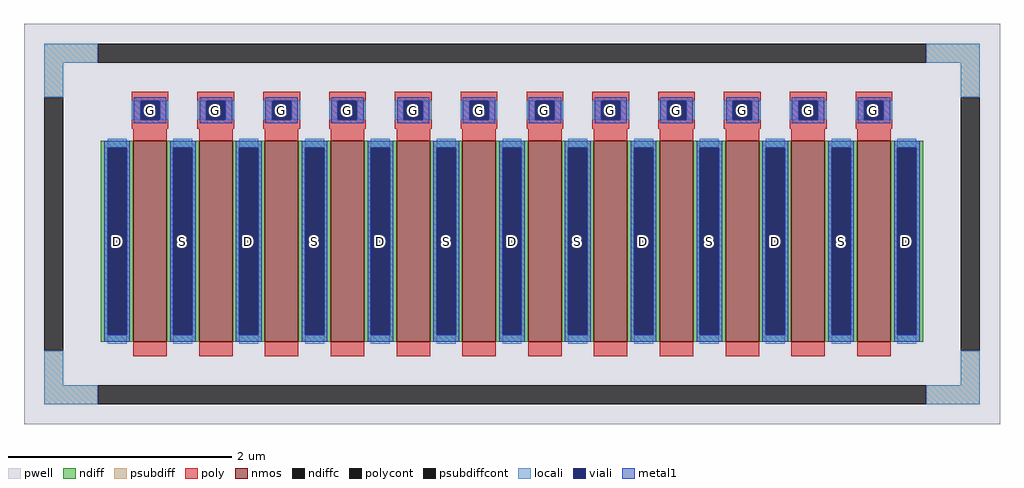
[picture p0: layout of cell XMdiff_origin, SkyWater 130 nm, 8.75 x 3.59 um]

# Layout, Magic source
magic
tech sky130A
magscale 1 2
<< pwell >>
rect -875 -359 875 359
<< nmos >>
rect -679 -211 -619 149
rect -561 -211 -501 149
rect -443 -211 -383 149
rect -325 -211 -265 149
rect -207 -211 -147 149
rect -89 -211 -29 149
rect 29 -211 89 149
rect 147 -211 207 149
rect 265 -211 325 149
rect 383 -211 443 149
rect 501 -211 561 149
rect 619 -211 679 149
<< ndiff >>
rect -737 137 -679 149
rect -737 -199 -725 137
rect -691 -199 -679 137
rect -737 -211 -679 -199
rect -619 137 -561 149
rect -619 -199 -607 137
rect -573 -199 -561 137
rect -619 -211 -561 -199
rect -501 137 -443 149
rect -501 -199 -489 137
rect -455 -199 -443 137
rect -501 -211 -443 -199
rect -383 137 -325 149
rect -383 -199 -371 137
rect -337 -199 -325 137
rect -383 -211 -325 -199
rect -265 137 -207 149
rect -265 -199 -253 137
rect -219 -199 -207 137
rect -265 -211 -207 -199
rect -147 137 -89 149
rect -147 -199 -135 137
rect -101 -199 -89 137
rect -147 -211 -89 -199
rect -29 137 29 149
rect -29 -199 -17 137
rect 17 -199 29 137
rect -29 -211 29 -199
rect 89 137 147 149
rect 89 -199 101 137
rect 135 -199 147 137
rect 89 -211 147 -199
rect 207 137 265 149
rect 207 -199 219 137
rect 253 -199 265 137
rect 207 -211 265 -199
rect 325 137 383 149
rect 325 -199 337 137
rect 371 -199 383 137
rect 325 -211 383 -199
rect 443 137 501 149
rect 443 -199 455 137
rect 489 -199 501 137
rect 443 -211 501 -199
rect 561 137 619 149
rect 561 -199 573 137
rect 607 -199 619 137
rect 561 -211 619 -199
rect 679 137 737 149
rect 679 -199 691 137
rect 725 -199 737 137
rect 679 -211 737 -199
<< ndiffc >>
rect -725 -199 -691 137
rect -607 -199 -573 137
rect -489 -199 -455 137
rect -371 -199 -337 137
rect -253 -199 -219 137
rect -135 -199 -101 137
rect -17 -199 17 137
rect 101 -199 135 137
rect 219 -199 253 137
rect 337 -199 371 137
rect 455 -199 489 137
rect 573 -199 607 137
rect 691 -199 725 137
<< psubdiff >>
rect -839 289 -743 323
rect 743 289 839 323
rect -839 227 -805 289
rect 805 227 839 289
rect -839 -289 -805 -227
rect 805 -289 839 -227
rect -839 -323 -743 -289
rect 743 -323 839 -289
<< psubdiffcont >>
rect -743 289 743 323
rect -839 -227 -805 227
rect 805 -227 839 227
rect -743 -323 743 -289
<< poly >>
rect -682 221 -616 237
rect -682 187 -666 221
rect -632 187 -616 221
rect -682 171 -616 187
rect -564 221 -498 237
rect -564 187 -548 221
rect -514 187 -498 221
rect -564 171 -498 187
rect -446 221 -380 237
rect -446 187 -430 221
rect -396 187 -380 221
rect -446 171 -380 187
rect -328 221 -262 237
rect -328 187 -312 221
rect -278 187 -262 221
rect -328 171 -262 187
rect -210 221 -144 237
rect -210 187 -194 221
rect -160 187 -144 221
rect -210 171 -144 187
rect -92 221 -26 237
rect -92 187 -76 221
rect -42 187 -26 221
rect -92 171 -26 187
rect 26 221 92 237
rect 26 187 42 221
rect 76 187 92 221
rect 26 171 92 187
rect 144 221 210 237
rect 144 187 160 221
rect 194 187 210 221
rect 144 171 210 187
rect 262 221 328 237
rect 262 187 278 221
rect 312 187 328 221
rect 262 171 328 187
rect 380 221 446 237
rect 380 187 396 221
rect 430 187 446 221
rect 380 171 446 187
rect 498 221 564 237
rect 498 187 514 221
rect 548 187 564 221
rect 498 171 564 187
rect 616 221 682 237
rect 616 187 632 221
rect 666 187 682 221
rect 616 171 682 187
rect -679 149 -619 171
rect -561 149 -501 171
rect -443 149 -383 171
rect -325 149 -265 171
rect -207 149 -147 171
rect -89 149 -29 171
rect 29 149 89 171
rect 147 149 207 171
rect 265 149 325 171
rect 383 149 443 171
rect 501 149 561 171
rect 619 149 679 171
rect -679 -237 -619 -211
rect -561 -237 -501 -211
rect -443 -237 -383 -211
rect -325 -237 -265 -211
rect -207 -237 -147 -211
rect -89 -237 -29 -211
rect 29 -237 89 -211
rect 147 -237 207 -211
rect 265 -237 325 -211
rect 383 -237 443 -211
rect 501 -237 561 -211
rect 619 -237 679 -211
<< polycont >>
rect -666 187 -632 221
rect -548 187 -514 221
rect -430 187 -396 221
rect -312 187 -278 221
rect -194 187 -160 221
rect -76 187 -42 221
rect 42 187 76 221
rect 160 187 194 221
rect 278 187 312 221
rect 396 187 430 221
rect 514 187 548 221
rect 632 187 666 221
<< locali >>
rect -839 289 -743 323
rect 743 289 839 323
rect -839 227 -805 289
rect 805 227 839 289
rect -682 187 -666 221
rect -632 187 -616 221
rect -564 187 -548 221
rect -514 187 -498 221
rect -446 187 -430 221
rect -396 187 -380 221
rect -328 187 -312 221
rect -278 187 -262 221
rect -210 187 -194 221
rect -160 187 -144 221
rect -92 187 -76 221
rect -42 187 -26 221
rect 26 187 42 221
rect 76 187 92 221
rect 144 187 160 221
rect 194 187 210 221
rect 262 187 278 221
rect 312 187 328 221
rect 380 187 396 221
rect 430 187 446 221
rect 498 187 514 221
rect 548 187 564 221
rect 616 187 632 221
rect 666 187 682 221
rect -725 137 -691 153
rect -725 -215 -691 -199
rect -607 137 -573 153
rect -607 -215 -573 -199
rect -489 137 -455 153
rect -489 -215 -455 -199
rect -371 137 -337 153
rect -371 -215 -337 -199
rect -253 137 -219 153
rect -253 -215 -219 -199
rect -135 137 -101 153
rect -135 -215 -101 -199
rect -17 137 17 153
rect -17 -215 17 -199
rect 101 137 135 153
rect 101 -215 135 -199
rect 219 137 253 153
rect 219 -215 253 -199
rect 337 137 371 153
rect 337 -215 371 -199
rect 455 137 489 153
rect 455 -215 489 -199
rect 573 137 607 153
rect 573 -215 607 -199
rect 691 137 725 153
rect 691 -215 725 -199
rect -839 -289 -805 -227
rect 805 -289 839 -227
rect -839 -323 -743 -289
rect 743 -323 839 -289
<< viali >>
rect -666 187 -632 221
rect -548 187 -514 221
rect -430 187 -396 221
rect -312 187 -278 221
rect -194 187 -160 221
rect -76 187 -42 221
rect 42 187 76 221
rect 160 187 194 221
rect 278 187 312 221
rect 396 187 430 221
rect 514 187 548 221
rect 632 187 666 221
rect -725 -199 -691 137
rect -607 -199 -573 137
rect -489 -199 -455 137
rect -371 -199 -337 137
rect -253 -199 -219 137
rect -135 -199 -101 137
rect -17 -199 17 137
rect 101 -199 135 137
rect 219 -199 253 137
rect 337 -199 371 137
rect 455 -199 489 137
rect 573 -199 607 137
rect 691 -199 725 137
<< metal1 >>
rect -678 221 -620 227
rect -678 187 -666 221
rect -632 187 -620 221
rect -678 181 -620 187
rect -560 221 -502 227
rect -560 187 -548 221
rect -514 187 -502 221
rect -560 181 -502 187
rect -442 221 -384 227
rect -442 187 -430 221
rect -396 187 -384 221
rect -442 181 -384 187
rect -324 221 -266 227
rect -324 187 -312 221
rect -278 187 -266 221
rect -324 181 -266 187
rect -206 221 -148 227
rect -206 187 -194 221
rect -160 187 -148 221
rect -206 181 -148 187
rect -88 221 -30 227
rect -88 187 -76 221
rect -42 187 -30 221
rect -88 181 -30 187
rect 30 221 88 227
rect 30 187 42 221
rect 76 187 88 221
rect 30 181 88 187
rect 148 221 206 227
rect 148 187 160 221
rect 194 187 206 221
rect 148 181 206 187
rect 266 221 324 227
rect 266 187 278 221
rect 312 187 324 221
rect 266 181 324 187
rect 384 221 442 227
rect 384 187 396 221
rect 430 187 442 221
rect 384 181 442 187
rect 502 221 560 227
rect 502 187 514 221
rect 548 187 560 221
rect 502 181 560 187
rect 620 221 678 227
rect 620 187 632 221
rect 666 187 678 221
rect 620 181 678 187
rect -731 137 -685 149
rect -731 -199 -725 137
rect -691 -199 -685 137
rect -731 -211 -685 -199
rect -613 137 -567 149
rect -613 -199 -607 137
rect -573 -199 -567 137
rect -613 -211 -567 -199
rect -495 137 -449 149
rect -495 -199 -489 137
rect -455 -199 -449 137
rect -495 -211 -449 -199
rect -377 137 -331 149
rect -377 -199 -371 137
rect -337 -199 -331 137
rect -377 -211 -331 -199
rect -259 137 -213 149
rect -259 -199 -253 137
rect -219 -199 -213 137
rect -259 -211 -213 -199
rect -141 137 -95 149
rect -141 -199 -135 137
rect -101 -199 -95 137
rect -141 -211 -95 -199
rect -23 137 23 149
rect -23 -199 -17 137
rect 17 -199 23 137
rect -23 -211 23 -199
rect 95 137 141 149
rect 95 -199 101 137
rect 135 -199 141 137
rect 95 -211 141 -199
rect 213 137 259 149
rect 213 -199 219 137
rect 253 -199 259 137
rect 213 -211 259 -199
rect 331 137 377 149
rect 331 -199 337 137
rect 371 -199 377 137
rect 331 -211 377 -199
rect 449 137 495 149
rect 449 -199 455 137
rect 489 -199 495 137
rect 449 -211 495 -199
rect 567 137 613 149
rect 567 -199 573 137
rect 607 -199 613 137
rect 567 -211 613 -199
rect 685 137 731 149
rect 685 -199 691 137
rect 725 -199 731 137
rect 685 -211 731 -199
<< labels >>
flabel metal1 -649 204 -649 204 0 FreeSans 240 0 0 0 G
flabel metal1 -531 204 -531 204 0 FreeSans 240 0 0 0 G
flabel metal1 -413 204 -413 204 0 FreeSans 240 0 0 0 G
flabel metal1 -295 204 -295 204 0 FreeSans 240 0 0 0 G
flabel metal1 -177 204 -177 204 0 FreeSans 240 0 0 0 G
flabel metal1 -59 204 -59 204 0 FreeSans 240 0 0 0 G
flabel metal1 59 204 59 204 0 FreeSans 240 0 0 0 G
flabel metal1 177 204 177 204 0 FreeSans 240 0 0 0 G
flabel metal1 295 204 295 204 0 FreeSans 240 0 0 0 G
flabel metal1 413 204 413 204 0 FreeSans 240 0 0 0 G
flabel metal1 531 204 531 204 0 FreeSans 240 0 0 0 G
flabel metal1 649 204 649 204 0 FreeSans 240 0 0 0 G
flabel metal1 -708 -31 -708 -31 0 FreeSans 240 0 0 0 D
flabel metal1 -590 -31 -590 -31 0 FreeSans 240 0 0 0 S
flabel metal1 -472 -31 -472 -31 0 FreeSans 240 0 0 0 D
flabel metal1 -354 -31 -354 -31 0 FreeSans 240 0 0 0 S
flabel metal1 -236 -31 -236 -31 0 FreeSans 240 0 0 0 D
flabel metal1 -118 -31 -118 -31 0 FreeSans 240 0 0 0 S
flabel metal1 0 -31 0 -31 0 FreeSans 240 0 0 0 D
flabel metal1 118 -31 118 -31 0 FreeSans 240 0 0 0 S
flabel metal1 236 -31 236 -31 0 FreeSans 240 0 0 0 D
flabel metal1 354 -31 354 -31 0 FreeSans 240 0 0 0 S
flabel metal1 472 -31 472 -31 0 FreeSans 240 0 0 0 D
flabel metal1 590 -31 590 -31 0 FreeSans 240 0 0 0 S
flabel metal1 708 -31 708 -31 0 FreeSans 240 0 0 0 D
<< properties >>
string FIXED_BBOX -822 -306 822 306
<< end >>
